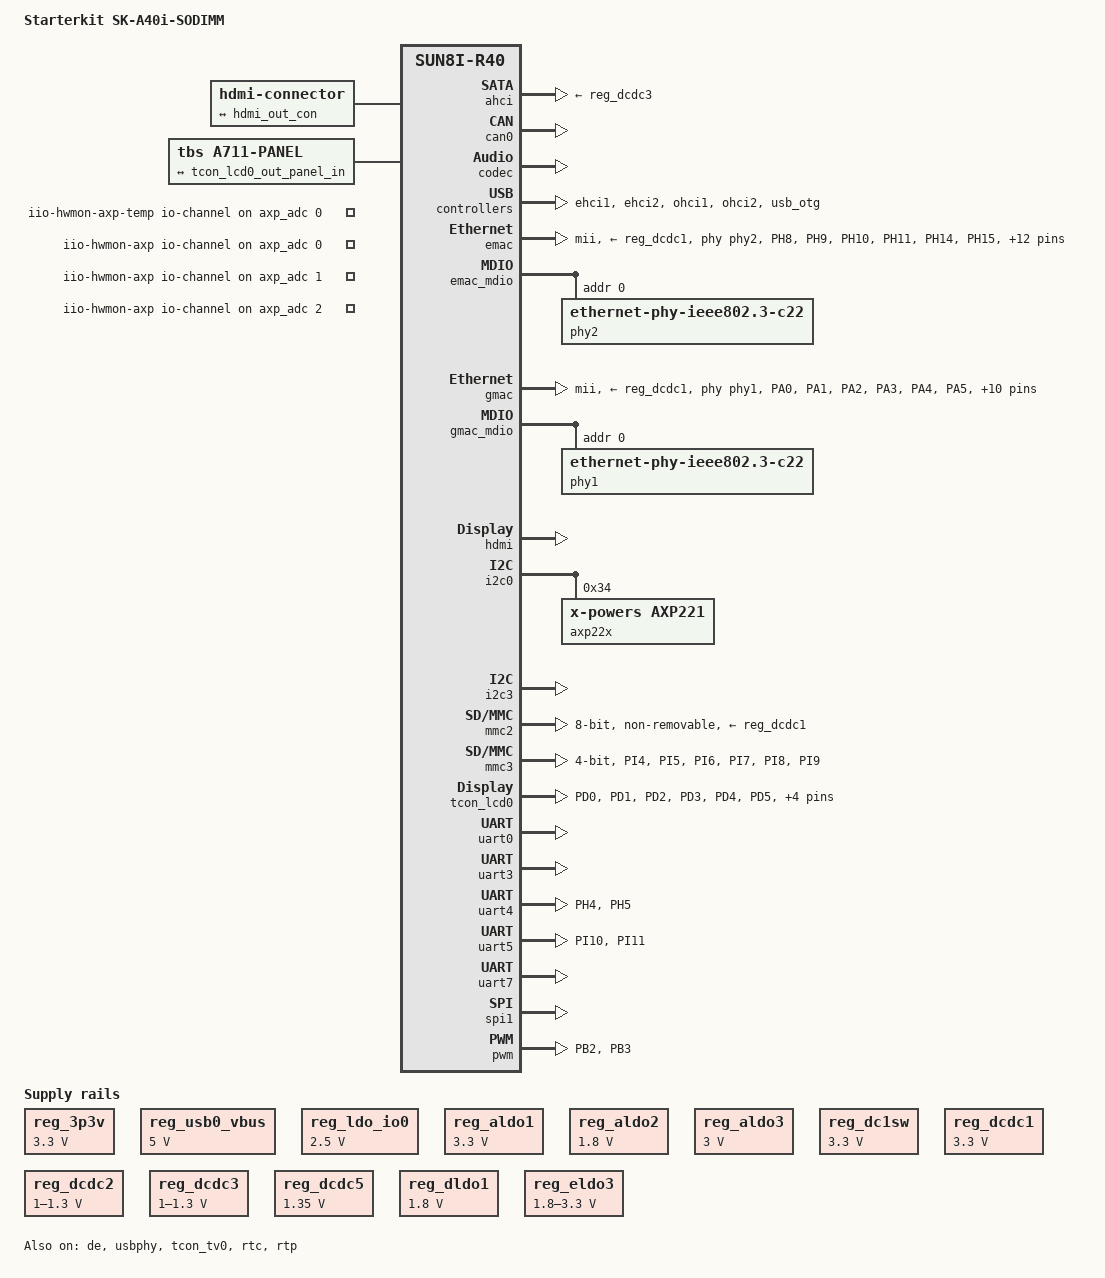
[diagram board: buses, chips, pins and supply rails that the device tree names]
/dts-v1/;

#include "sun8i-r40.dtsi"
#include "sun8i-r40-cpu-opp.dtsi"
#include <dt-bindings/gpio/gpio.h>
#include <dt-bindings/pwm/pwm.h>

#define PIN_PA &pio 0
#define PIN_PB &pio 1
#define PIN_PC &pio 2
#define PIN_PD &pio 3
#define PIN_PE &pio 4
#define PIN_PF &pio 5
#define PIN_PG &pio 6
#define PIN_PH &pio 7
#define PIN_PI &pio 8

/ {
	model = "Starterkit SK-A40i-SODIMM";
	compatible = "sk,a40i-sodimm", "allwinner,sun8i-r40";

	aliases {
		ethernet0 = &emac;
		ethernet1 = &gmac;
		serial0 = &uart0;
		serial1 = &uart1;
		serial2 = &uart2;
		serial3 = &uart3;
		serial4 = &uart4;
		serial5 = &uart5;
		serial6 = &uart6;
		serial7 = &uart7;
		mmc0 = &mmc0;
		mmc1 = &mmc1;		
		mmc2 = &mmc2;
		mmc3 = &mmc3;		
	};

	chosen {
		stdout-path = "serial0:115200n8";
	};

	connector {
		compatible = "hdmi-connector";
		type = "a";

		port {
			hdmi_con_in: endpoint {
				remote-endpoint = <&hdmi_out_con>;
			};
		};
	};

    panel {
        compatible = "tbs,a711-panel", "panel-lvds";
/*        backlight = <&backlight>; */
/*        power-supply = <&reg_sw>; */

        width-mm = <153>;
        height-mm = <90>;
        data-mapping = "vesa-24";

        panel-timing {
            /* 800x600 @60Hz */
            clock-frequency = <33000000>;
            hactive = <800>;
            vactive = <480>;
            hsync-len = <60>;
            hfront-porch = <40>;
            hback-porch = <220>;
            vfront-porch = <7>;
            vback-porch = <21>;
            vsync-len = <10>;
        };

        port {
            panel_input: endpoint {
                remote-endpoint = <&tcon_lcd0_out_panel_in>;
            };
        };
    };

	regulators {
		compatible = "simple-bus";
		#address-cells = <1>;
		#size-cells = <0>;

        reg_3p3v: regulator@0 {
            compatible = "regulator-fixed";
            regulator-name = "3P3V";
            regulator-min-microvolt = <3300000>;
            regulator-max-microvolt = <3300000>;
            regulator-always-on;
        };

		reg_usb0_vbus: regulator@1 {
			reg = <1>;
			compatible = "regulator-fixed";
			regulator-name = "usb0_vbus";
			regulator-min-microvolt = <5000000>;
			regulator-max-microvolt = <5000000>;
/*
			gpio = <PIN_PE 0 GPIO_ACTIVE_HIGH>;
			enable-active-high;
*/
		};
	};

	iio-hwmon-axp-temp {
		compatible = "iio-hwmon";
		io-channels = <&axp_adc 0>;
	};

	iio-hwmon-axp {
		compatible = "iio-hwmon";
		io-channels = <&axp_adc 0>, <&axp_adc 1>, <&axp_adc 2>;
	};
};

&ahci {
	ahci-supply = <&reg_ldo_io0>;
	phy-supply = <&reg_dcdc3>;
	status = "okay";
};

&can0 {
	pinctrl-0 = <&can_pa_pins>;
	pinctrl-names = "default";
	status = "okay";
};

&codec {
	allwinner,audio-routing =
		"Headphone", "HP",
		"LINEIN", "Line In";
	status = "okay";
};

&cpu0 {
	cpu-supply = <&reg_dcdc2>;
};

&de {
	status = "okay";
};

&ehci1 {
	status = "okay";
};

&ehci2 {
	status = "okay";
};

&ohci1 {
	status = "okay";
};

&ohci2 {
	status = "okay";
};

&usb_otg {
	status = "okay";
};

&usbphy {
    usb0_vbus-supply = <&reg_usb0_vbus>;
	usb1_vbus-supply = <&reg_usb0_vbus>;
	usb2_vbus-supply = <&reg_usb0_vbus>;
	status = "okay";
};

&emac {
	pinctrl-names = "default";
	pinctrl-0 = <&emac_ph_pins>;
	phy-handle = <&phy2>;
	phy-mode = "mii";
	phy-supply = <&reg_dcdc1>;
/*
	nvmem-cells = <&eth1_mac_address>;
	nvmem-cell-names = "mac-address";
*/
	status = "okay";
};

&emac_mdio {
	status = "okay";
	phy2: ethernet-phy@0 {
		compatible = "ethernet-phy-ieee802.3-c22";
		reg = <0>;

		reset-gpios = <PIN_PH 12 GPIO_ACTIVE_LOW>;
		reset-assert-us = <10000>;
		reset-deassert-us = <100000>;

		icplus,select-rx-error;
		status = "okay";
	};
};

&gmac {
	pinctrl-names = "default";
	pinctrl-0 = <&gmac_mii_pins_reduced>;
	phy-handle = <&phy1>;
	phy-mode = "mii";
	phy-supply = <&reg_dcdc1>;
/*
	To make it work make sure local-mac-address property is not set by U-Boot
	nvmem-cells = <&eth0_mac_address>;
	nvmem-cell-names = "mac-address";
*/
	status = "okay";
};

&gmac_mdio {
	phy1: ethernet-phy@0 {
		compatible = "ethernet-phy-ieee802.3-c22";
		reg = <0>;

		reset-gpios = <PIN_PH 13 GPIO_ACTIVE_LOW>;
		reset-assert-us = <10000>;
		reset-deassert-us = <100000>;

		icplus,select-rx-error;
		status = "okay";
	};
};

&hdmi {
	status = "okay";
};

&hdmi_out {
	hdmi_out_con: endpoint {
		remote-endpoint = <&hdmi_con_in>;
	};
};

&i2c0 {
	status = "okay";

	axp22x: pmic@34 {
		compatible = "x-powers,axp221";
		reg = <0x34>;
		interrupt-parent = <&nmi_intc>;
		interrupts = <0 IRQ_TYPE_LEVEL_LOW>;
	};
};

&i2c3 {
	status = "okay";
};

&mmc2 {
	vmmc-supply = <&reg_dcdc1>;
	vqmmc-supply = <&reg_aldo2>;
	bus-width = <8>;
	non-removable;
	cap-mmc-hw-reset;
	mmc-hs200-1_8v;
	status = "okay";
};

&mmc3 {
	pinctrl-names = "default";
	pinctrl-0 = <&mmc3_pins>;
	bus-width = <4>;
/*	cd-gpios = <PIN_PC 5 GPIO_ACTIVE_LOW>; */
	status = "okay";
	no-1-8-v;
};

&pio {
	vcc-pa-supply = <&reg_dcdc1>; //ok
//	vcc-pb-supply = <&reg_dcdc1>; /* VCC-IO */
	vcc-pc-supply = <&reg_aldo2>; /* eMMC, SoM wi-fi gpios*/
	vcc-pd-supply = <&reg_dcdc1>; //ok
	vcc-pe-supply = <&reg_eldo3>; //ok
	vcc-pf-supply = <&reg_dcdc1>; //ok
	vcc-pg-supply = <&reg_dcdc1>; // microSD 3v3!!
	vcc-ph-supply = <&reg_dcdc1>; // VCC-IO
	vcc-pi-supply = <&reg_dcdc1>;// VCC-IO

	emac_ph_pins: emac-ph-pins {
		pins = "PH8", "PH9", "PH10", "PH11",
		       "PH14", "PH15", "PH16", "PH17",
		       "PH18","PH19", "PH20", "PH21",
		       "PH22", "PH23", "PH24", "PH25",
			   "PH26", "PH27";
		drive-strength = <40>;
		function = "emac";
	};

    /* w/o ECOL and ETXERR */
    gmac_mii_pins_reduced: gmac-mii-pins-reduced {
		pins = "PA0", "PA1", "PA2", "PA3",
			"PA4", "PA5", "PA6", "PA7",
			"PA8", "PA9", "PA10", "PA11", "PA12",
			"PA13", "PA14", "PA15";
		drive-strength = <40>;
		function = "gmac";
	};

	lcd0_lvds_pins: lcd0-lvds-pins {
		pins = "PD0", "PD1", "PD2", "PD3", "PD4",
			"PD5", "PD6", "PD7", "PD8", "PD9";
		function = "lvds0";
	};

	mmc3_pins: mmc3-pins {
		pins = "PI4", "PI5", "PI6",
		       "PI7", "PI8", "PI9";
		function = "mmc3";
		drive-strength = <30>;
		bias-pull-up;
	};

	pwm_ch0_pb_pins: pwm-ch0-pb-pins {
		pins = "PB2";
		function = "pwm";
	};

	pwm_ch1_pb_pins: pwm-ch1-pb-pins {
		pins = "PB3";
		function = "pwm";
	};

	spi1_tsc_pins: spi1-tsc-pins {
		pins = "PA16";
		function = "gpio_in";
	};

	uart4_ph_pins: uart4-ph-pins {
		pins = "PH4", "PH5";
		function = "uart4";
	};

	uart5_pi_pins: uart5-pi-pins {
		pins = "PI10", "PI11";
		function = "uart5";
	};
};

#include "axp22x.dtsi"

&reg_ldo_io0 {
  regulator-min-microvolt = <2500000>;
  regulator-max-microvolt = <2500000>;
  regulator-name = "vdd2v5-sata";
  status = "okay";
};

/* ALDO1: 0.7V~3.3V, 300 mA, default: OFF */
/* CPU: VCC-TVIN, VCC-TVOUT */
&reg_aldo1 {
	regulator-min-microvolt = <3300000>;
	regulator-max-microvolt = <3300000>;
	regulator-name = "tvd";
};

/* ALDO2: 0.7V~3.3V, 300mA, default: 1.8V */
/* eMMC VDDQ (optional), VCC-PC*/
&reg_aldo2 {
	regulator-always-on;
	regulator-min-microvolt = <1800000>;
	regulator-max-microvolt = <1800000>;
	regulator-name = "aldo2";
};

/* ALDO3: 0.7V~3.3V, 200 mA, default: 3.0 V */
/* VCC-PLL и AVCC */
&reg_aldo3 {
	regulator-always-on;
	regulator-min-microvolt = <3000000>;
	regulator-max-microvolt = <3000000>;
	regulator-init-microvolt = <3000000>;
	regulator-name = "avcc-pll";
};

/* DC1SW Switch, 400 mA, 100mOhm, default: OFF */
&reg_dc1sw {
	regulator-min-microvolt = <3300000>;
	regulator-max-microvolt = <3300000>;
	regulator-name = "vcc-gmac-phy";
};

/* DCDC1: 1.6V~3.4V, 1400 mA, default: 3.3V
   VCC-IO процессора
   ref: eFUSE, microSD, PD, PA, DSI, HDMI, HP
   eMMC, eth phy
   3.3V для периферии на основной плате WB
*/
&reg_dcdc1 {
	regulator-always-on;
	regulator-min-microvolt = <3300000>;
	regulator-max-microvolt = <3300000>;
	regulator-name = "vcc-3v3";
};

/* DCDC2: 0.6V~1.54V, 2500 mA, default: 1.1 V */
/* CPU core vdd-cpu */
&reg_dcdc2 {
	regulator-always-on;
	regulator-min-microvolt = <1000000>;
	regulator-max-microvolt = <1300000>;
	regulator-name = "vdd-cpu";
};

/* CPU vdd-sys */
/* DCDC3: 0.6V~1.86V, 2500 mA, default: 1.1 V */
&reg_dcdc3 {
	regulator-always-on;
	regulator-min-microvolt = <1000000>;
	regulator-max-microvolt = <1300000>;
	regulator-name = "vdd-sys";
};

/* DCDC4: 0.6V~1.54V, 600mA, default: 1.1 V */
/* unused */

/* DCDC5: 1.0V~2.55V, 2000 mA, default: 1.5/DC5SET V */
/* DRAM */
&reg_dcdc5 {
	regulator-always-on;
	regulator-min-microvolt = <1350000>;
	regulator-max-microvolt = <1350000>;
	regulator-name = "vcc-dram";
};

/* DLDO1: 0.7V~3.3V, 400 mA, default: OFF */
/* in: 5V/4V (PS).
   microSD reference voltage (internal)
*/
&reg_dldo1 {
	regulator-min-microvolt = <1800000>;
	regulator-max-microvolt = <1800000>;
	regulator-name = "vcc-sd-alt";
	regulator-always-on;
};

/* ELDO3: 0.7V~3.3V, 200 mA, default: OFF */
/* ref. VCC-PE */
&reg_eldo3 {
	regulator-min-microvolt = <1800000>;
	regulator-max-microvolt = <3300000>;
	regulator-init-microvolt = <3300000>;
	regulator-always-on;
	regulator-name = "vcc-pe";
};

/* Unused: */
	/* DLDO2: 0.7V~3.3V, 200 mA, default: OFF */
	/* DLDO3: 0.7V~3.3V, 200 mA, default: OFF */
	/* DLDO4: 0.7V~3.3V, 100 mA, default: OFF */
	/* ELDO1: 0.7V~3.3V, 400 mA, default: OFF */
	/* ELDO2: 0.7V~3.3V, 200 mA, default: OFF */

/* DC5LDO: 0.7V~1.4V, 200 mA, default: 1.1V */

&tcon_lcd0 {
    pinctrl-names = "default";
    pinctrl-0 = <&lcd0_lvds_pins>;
	status = "okay";
};          
        
&tcon_lcd0_out {
    tcon_lcd0_out_panel_in: endpoint {
        remote-endpoint = <&panel_input>;
    };
};

&tcon_tv0 {
	status = "okay";
};

&uart0 {
	pinctrl-names = "default";
	pinctrl-0 = <&uart0_pb_pins>;
	status = "okay";
};

&uart3 {
	pinctrl-names = "default";
	pinctrl-0 = <&uart3_pg_pins>;
	status = "okay";
};

&uart4 {
	pinctrl-names = "default";
	pinctrl-0 = <&uart4_ph_pins>;
	status = "okay";
};

&uart5 {
	pinctrl-names = "default";
	pinctrl-0 = <&uart5_pi_pins>;
	status = "okay";
};

&uart7 {
	pinctrl-names = "default";
	pinctrl-0 = <&uart7_pi_pins>;
    rts-gpios = <PIN_PB 18 GPIO_ACTIVE_HIGH>;
    linux,rs485-enabled-at-boot-time;
	status = "okay";
};

&rtc {
	status = "okay";
};

&spi1 {
	pinctrl-names = "default";
	pinctrl-0 = <&spi1_pi_pins>,
		<&spi1_cs0_pi_pin>;
	status = "okay";
};

&pwm {
	pinctrl-0 = <&pwm_ch0_pb_pins>,
		<&pwm_ch1_pb_pins>;
	pinctrl-names = "default";
	status = "okay";
};

&rtp {
	allwinner,ts-attached;
	allwinner,filter-type = <3>;
	status = "okay";
};

/*
&gpadc {
	status = "okay";
};
*/
